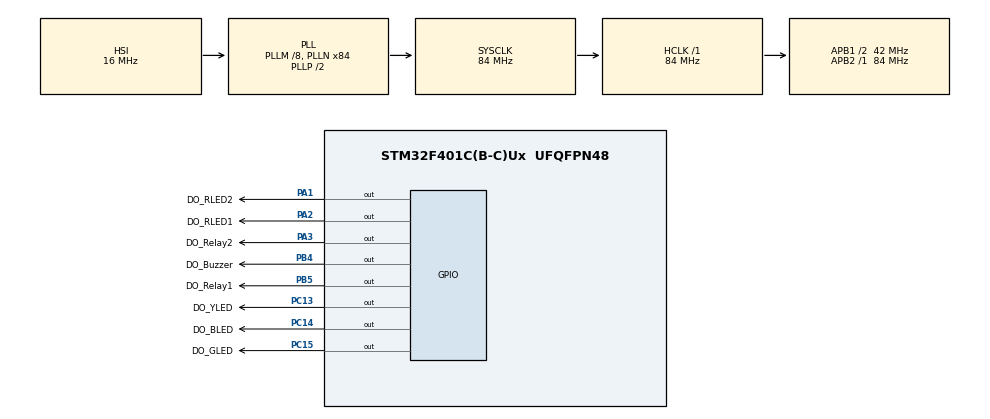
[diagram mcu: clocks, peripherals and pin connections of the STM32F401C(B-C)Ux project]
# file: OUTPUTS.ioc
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Mcu.Family=STM32F4
Mcu.Name=STM32F401C(B-C)Ux
Mcu.Package=UFQFPN48
NVIC.PriorityGroup=NVIC_PRIORITYGROUP_4
PA1.GPIO_Label=DO_RLED2
PA1.Signal=GPIO_Output
PA13.Mode=Serial_Wire
PA13.Signal=SYS_JTMS-SWDIO
PA14.Mode=Serial_Wire
PA14.Signal=SYS_JTCK-SWCLK
PA2.GPIO_Label=DO_RLED1
PA2.Signal=GPIO_Output
PA3.GPIO_Label=DO_Relay2
PA3.Signal=GPIO_Output
PB4.GPIO_Label=DO_Buzzer
PB4.Signal=GPIO_Output
PB5.GPIO_Label=DO_Relay1
PB5.Signal=GPIO_Output
PC13-ANTI_TAMP.GPIO_Label=DO_YLED
PC13-ANTI_TAMP.Signal=GPIO_Output
PC14-OSC32_IN.GPIO_Label=DO_BLED
PC14-OSC32_IN.Signal=GPIO_Output
PC15-OSC32_OUT.GPIO_Label=DO_GLED
PC15-OSC32_OUT.Signal=GPIO_Output
PH0\ -\ OSC_IN.Mode=HSE-External-Oscillator
PH0\ -\ OSC_IN.Signal=RCC_OSC_IN
PH1\ -\ OSC_OUT.Mode=HSE-External-Oscillator
PH1\ -\ OSC_OUT.Signal=RCC_OSC_OUT
ProjectManager.HeapSize=0x200
ProjectManager.StackSize=0x400
ProjectManager.TargetToolchain=STM32CubeIDE
RCC.48MHZClocksFreq_Value=42000000
RCC.AHBFreq_Value=84000000
RCC.APB1CLKDivider=RCC_HCLK_DIV2
RCC.APB1Freq_Value=42000000
RCC.APB1TimFreq_Value=84000000
RCC.APB2Freq_Value=84000000
RCC.APB2TimFreq_Value=84000000
RCC.CortexFreq_Value=84000000
RCC.HCLKFreq_Value=84000000
RCC.HSE_VALUE=25000000
RCC.HSI_VALUE=16000000
RCC.LSE_VALUE=32768
RCC.PLLM=8
RCC.PLLN=84
RCC.SYSCLKFreq_VALUE=84000000
RCC.SYSCLKSource=RCC_SYSCLKSOURCE_PLLCLK
RCC.VCOOutputFreq_Value=168000000
board=custom

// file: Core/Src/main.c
/* USER CODE BEGIN Header */
/**
  ******************************************************************************
  * @file           : main.c
  * @brief          : Main program body
  ******************************************************************************
  * @attention
  *
  * Copyright (c) 2024 STMicroelectronics.
  * All rights reserved.
  *
  * This software is licensed under terms that can be found in the LICENSE file
  * in the root directory of this software component.
  * If no LICENSE file comes with this software, it is provided AS-IS.
  *
  ******************************************************************************
  */
/* USER CODE END Header */
#include "main.h"

void SystemClock_Config(void);
static void MX_GPIO_Init(void);

int main(void)
{

  /* MCU Configuration--------------------------------------------------------*/

  /* Reset of all peripherals, Initializes the Flash interface and the Systick. */
  HAL_Init();

  /* Configure the system clock */
  SystemClock_Config();

  /* Initialize all configured peripherals */
  MX_GPIO_Init();

  /* Infinite loop */
  /* USER CODE BEGIN WHILE */
  while (1)
  {
	  // Buzzer test
	  HAL_GPIO_WritePin(DO_Buzzer_GPIO_Port, DO_Buzzer_Pin, SET);
	  HAL_Delay(200);
	  HAL_GPIO_WritePin(DO_Buzzer_GPIO_Port, DO_Buzzer_Pin, RESET);
	  HAL_Delay(500);
	  // Relay1 test
	  HAL_GPIO_WritePin(DO_Relay1_GPIO_Port, DO_Relay1_Pin, SET);
	  HAL_Delay(500);
	  HAL_GPIO_WritePin(DO_Relay1_GPIO_Port, DO_Relay1_Pin, RESET);
	  HAL_Delay(500);
	  // Relay2 test
	  HAL_GPIO_WritePin(DO_Relay2_GPIO_Port, DO_Relay2_Pin, SET);
	  HAL_Delay(500);
	  HAL_GPIO_WritePin(DO_Relay2_GPIO_Port, DO_Relay2_Pin, RESET);
	  HAL_Delay(500);
	  // Red1 led test
	  HAL_GPIO_WritePin(DO_RLED1_GPIO_Port, DO_RLED1_Pin, SET);
	  HAL_Delay(500);
	  HAL_GPIO_WritePin(DO_RLED1_GPIO_Port, DO_RLED1_Pin, RESET);
	  HAL_Delay(500);
	  // Red2 led test
	  HAL_GPIO_WritePin(DO_RLED2_GPIO_Port, DO_RLED2_Pin, SET);
	  HAL_Delay(500);
	  HAL_GPIO_WritePin(DO_RLED2_GPIO_Port, DO_RLED2_Pin, RESET);
	  HAL_Delay(500);
	  // Green led test
	  HAL_GPIO_WritePin(DO_GLED_GPIO_Port, DO_GLED_Pin, SET);
	  HAL_Delay(500);
	  HAL_GPIO_WritePin(DO_GLED_GPIO_Port, DO_GLED_Pin, RESET);
	  HAL_Delay(500);
	  // Blue led test
	  HAL_GPIO_WritePin(DO_BLED_GPIO_Port, DO_BLED_Pin, SET);
	  HAL_Delay(500);
	  HAL_GPIO_WritePin(DO_BLED_GPIO_Port, DO_BLED_Pin, RESET);
	  HAL_Delay(500);
	  // Yellow led test
	  HAL_GPIO_WritePin(DO_YLED_GPIO_Port, DO_YLED_Pin, SET);
	  HAL_Delay(500);
	  HAL_GPIO_WritePin(DO_YLED_GPIO_Port, DO_YLED_Pin, RESET);
	  HAL_Delay(500);
    /* USER CODE END WHILE */

  }
}

void SystemClock_Config(void)
{
  RCC_OscInitTypeDef RCC_OscInitStruct = {0};
  RCC_ClkInitTypeDef RCC_ClkInitStruct = {0};

  /** Configure the main internal regulator output voltage
  */
  __HAL_RCC_PWR_CLK_ENABLE();
  __HAL_PWR_VOLTAGESCALING_CONFIG(PWR_REGULATOR_VOLTAGE_SCALE2);
  /** Initializes the RCC Oscillators according to the specified parameters
  * in the RCC_OscInitTypeDef structure.
  */
  RCC_OscInitStruct.OscillatorType = RCC_OSCILLATORTYPE_HSI;
  RCC_OscInitStruct.HSIState = RCC_HSI_ON;
  RCC_OscInitStruct.HSICalibrationValue = RCC_HSICALIBRATION_DEFAULT;
  RCC_OscInitStruct.PLL.PLLState = RCC_PLL_ON;
  RCC_OscInitStruct.PLL.PLLSource = RCC_PLLSOURCE_HSI;
  RCC_OscInitStruct.PLL.PLLM = 8;
  RCC_OscInitStruct.PLL.PLLN = 84;
  RCC_OscInitStruct.PLL.PLLP = RCC_PLLP_DIV2;
  RCC_OscInitStruct.PLL.PLLQ = 4;
  if (HAL_RCC_OscConfig(&RCC_OscInitStruct) != HAL_OK)
  {
    Error_Handler();
  }
  /** Initializes the CPU, AHB and APB buses clocks
  */
  RCC_ClkInitStruct.ClockType = RCC_CLOCKTYPE_HCLK|RCC_CLOCKTYPE_SYSCLK
                              |RCC_CLOCKTYPE_PCLK1|RCC_CLOCKTYPE_PCLK2;
  RCC_ClkInitStruct.SYSCLKSource = RCC_SYSCLKSOURCE_PLLCLK;
  RCC_ClkInitStruct.AHBCLKDivider = RCC_SYSCLK_DIV1;
  RCC_ClkInitStruct.APB1CLKDivider = RCC_HCLK_DIV2;
  RCC_ClkInitStruct.APB2CLKDivider = RCC_HCLK_DIV1;

  if (HAL_RCC_ClockConfig(&RCC_ClkInitStruct, FLASH_LATENCY_2) != HAL_OK)
  {
    Error_Handler();
  }
}

static void MX_GPIO_Init(void)
{
  GPIO_InitTypeDef GPIO_InitStruct = {0};

  /* GPIO Ports Clock Enable */
  __HAL_RCC_GPIOC_CLK_ENABLE();
  __HAL_RCC_GPIOH_CLK_ENABLE();
  __HAL_RCC_GPIOA_CLK_ENABLE();
  __HAL_RCC_GPIOB_CLK_ENABLE();

  /*Configure GPIO pin Output Level */
  HAL_GPIO_WritePin(GPIOC, DO_YLED_Pin|DO_BLED_Pin|DO_GLED_Pin, GPIO_PIN_RESET);

  /*Configure GPIO pin Output Level */
  HAL_GPIO_WritePin(GPIOA, DO_RLED2_Pin|DO_RLED1_Pin|DO_Relay2_Pin, GPIO_PIN_RESET);

  /*Configure GPIO pin Output Level */
  HAL_GPIO_WritePin(GPIOB, DO_Buzzer_Pin|DO_Relay1_Pin, GPIO_PIN_RESET);

  /*Configure GPIO pins : DO_YLED_Pin DO_BLED_Pin DO_GLED_Pin */
  GPIO_InitStruct.Pin = DO_YLED_Pin|DO_BLED_Pin|DO_GLED_Pin;
  GPIO_InitStruct.Mode = GPIO_MODE_OUTPUT_PP;
  GPIO_InitStruct.Pull = GPIO_NOPULL;
  GPIO_InitStruct.Speed = GPIO_SPEED_FREQ_LOW;
  HAL_GPIO_Init(GPIOC, &GPIO_InitStruct);

  /*Configure GPIO pins : DO_RLED2_Pin DO_RLED1_Pin DO_Relay2_Pin */
  GPIO_InitStruct.Pin = DO_RLED2_Pin|DO_RLED1_Pin|DO_Relay2_Pin;
  GPIO_InitStruct.Mode = GPIO_MODE_OUTPUT_PP;
  GPIO_InitStruct.Pull = GPIO_NOPULL;
  GPIO_InitStruct.Speed = GPIO_SPEED_FREQ_LOW;
  HAL_GPIO_Init(GPIOA, &GPIO_InitStruct);

  /*Configure GPIO pins : DO_Buzzer_Pin DO_Relay1_Pin */
  GPIO_InitStruct.Pin = DO_Buzzer_Pin|DO_Relay1_Pin;
  GPIO_InitStruct.Mode = GPIO_MODE_OUTPUT_PP;
  GPIO_InitStruct.Pull = GPIO_NOPULL;
  GPIO_InitStruct.Speed = GPIO_SPEED_FREQ_LOW;
  HAL_GPIO_Init(GPIOB, &GPIO_InitStruct);

}

void Error_Handler(void)
{
  __disable_irq();
  while (1)
  {
  }
}
